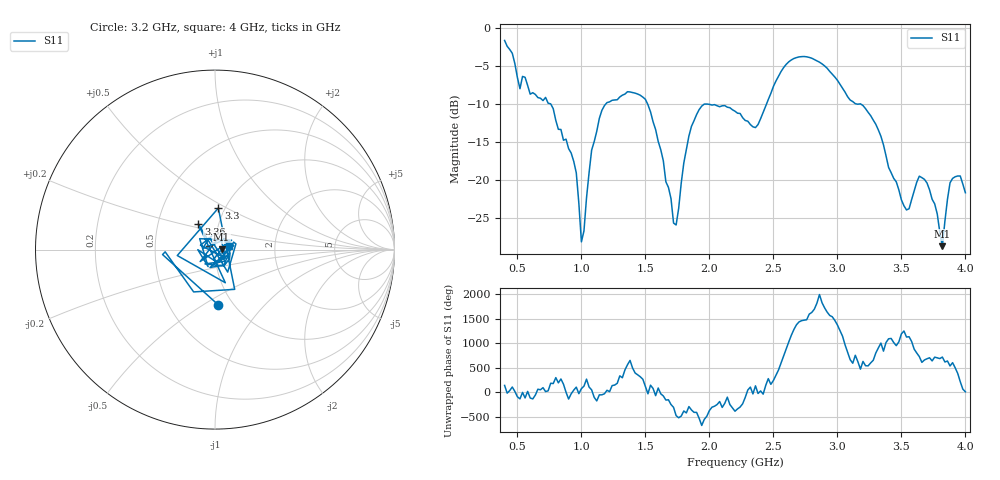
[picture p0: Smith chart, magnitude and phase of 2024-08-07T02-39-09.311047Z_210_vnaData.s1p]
!Created with skrf (http://scikit-rf.org).
# Hz S RI R 50.0
!freq ReS11 ImS11
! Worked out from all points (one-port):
!   181 points, 400 MHz to 4 GHz, reference 50 ohm
!   lowest |S11| = -28.7 dB at 3.82 GHz (marker M1), VSWR 1.08, Z = 53.8 + j0.123 ohm
!   |S11| at or under -10 dB: 756.6 MHz to 1.192 GHz (435.7 MHz wide, 44.7 % of centre); 1.516 GHz to 2.447 GHz (930.9 MHz wide, 47 % of centre); 3.141 GHz to end of sweep
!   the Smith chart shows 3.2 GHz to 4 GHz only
!   S11 on the Smith chart (normalised r, x): 3.2 GHz: 0.85, -0.58; 3.3 GHz: 0.93, +0.45; 3.36 GHz: 0.80, +0.23; 4 GHz: 1.17, +0.05
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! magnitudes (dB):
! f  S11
! 400 MHz  -1.7
! 520 MHz  -8.0
! 720 MHz  -9.2
! 860 MHz  -14.8
! 960 MHz  -19.1
! 1 GHz  -28.1
! 1.08 GHz  -16.1
! 1.14 GHz  -11.9
! 1.3 GHz  -9.1
! 1.5 GHz  -9.4
! 1.64 GHz  -17.5
! 1.72 GHz  -25.7
! 1.76 GHz  -23.7
! 1.84 GHz  -14.2
! 1.92 GHz  -10.8
! 2.2 GHz  -11.0
! 2.36 GHz  -13.1
! 2.66 GHz  -4.1
! 2.88 GHz  -4.8
! 3.1 GHz  -9.5
! 3.2 GHz  -10.2
! 3.3 GHz  -12.7
! 3.36 GHz  -15.4
! 3.56 GHz  -23.8
! 3.68 GHz  -19.9
! 3.82 GHz  -28.7
! 3.88 GHz  -20.4
! 4 GHz  -21.7
